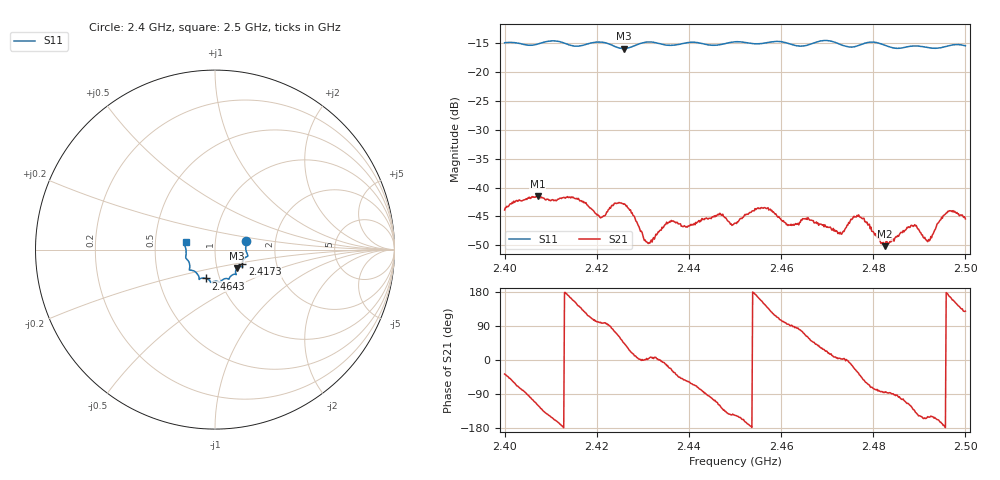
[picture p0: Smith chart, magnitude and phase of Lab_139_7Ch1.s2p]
# Hz S RI R 50
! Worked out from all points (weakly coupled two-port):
!   601 points, 2.4 GHz to 2.5 GHz, reference 50 ohm
!   highest |S21| = -41.48 dB at 2.4072 GHz (marker M1); lowest = -50.2 dB at 2.4825 GHz (marker M2)
!   lowest |S11| = -15.9 dB at 2.4258 GHz (marker M3), VSWR 1.38, Z = 62.3 - j13.3 ohm
!   |S11| at or under -10 dB: start of sweep to end of sweep
!   S12 and S22 are empty: the file has one direction only
!   S11 on the Smith chart (normalised r, x): 2.4 GHz: 1.41, +0.14; 2.4173 GHz: 1.34, -0.22; 2.4643 GHz: 0.86, -0.29; 2.5 GHz: 0.72, +0.06
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2.4e9  0.1731 0.0489  0.0051 -0.00384  0 0  0 0
2.407167e9  0.1749 -0.0121  -0.00407 -0.00739  0 0  0 0
2.416667e9  0.1528 -0.0741  -0.00552 0.00535  0 0  0 0
2.417333e9  0.152 -0.0815  -0.00454 0.00592  0 0  0 0
2.421e9  0.1542 -0.097  -0.000705 0.00548  0 0  0 0
2.425833e9  0.1218 -0.1038  0.00504 0.00508  0 0  0 0
2.430833e9  0.1188 -0.1387  0.00338 0.000246  0 0  0 0
2.433333e9  0.1129 -0.1374  0.00413 3.64e-05  0 0  0 0
2.446333e9  0.0452 -0.1662  -0.00262 -0.00525  0 0  0 0
2.45e9  0.0287 -0.1813  -0.00408 -0.00274  0 0  0 0
2.456167e9  -0.00801 -0.178  -0.00571 0.00335  0 0  0 0
2.4615e9  -0.0277 -0.1757  -0.000351 0.00467  0 0  0 0
2.464333e9  -0.0498 -0.1608  0.00116 0.00511  0 0  0 0
2.466667e9  -0.0759 -0.1594  0.00337 0.00397  0 0  0 0
2.472833e9  -0.0908 -0.1488  0.00408 0.000299  0 0  0 0
2.477e9  -0.1267 -0.1157  0.00431 -0.00355  0 0  0 0
2.4825e9  -0.1406 -0.0983  0.000219 -0.00309  0 0  0 0
2.483333e9  -0.1405 -0.0898  0.000146 -0.00325  0 0  0 0
2.488667e9  -0.1621 -0.047  -0.003 -0.00349  0 0  0 0
2.492167e9  -0.161 -0.024  -0.00303 -0.00167  0 0  0 0
2.4965e9  -0.1685 0.0236  -0.00615 0.00131  0 0  0 0
2.5e9  -0.1638 0.0429  -0.00336 0.00416  0 0  0 0
